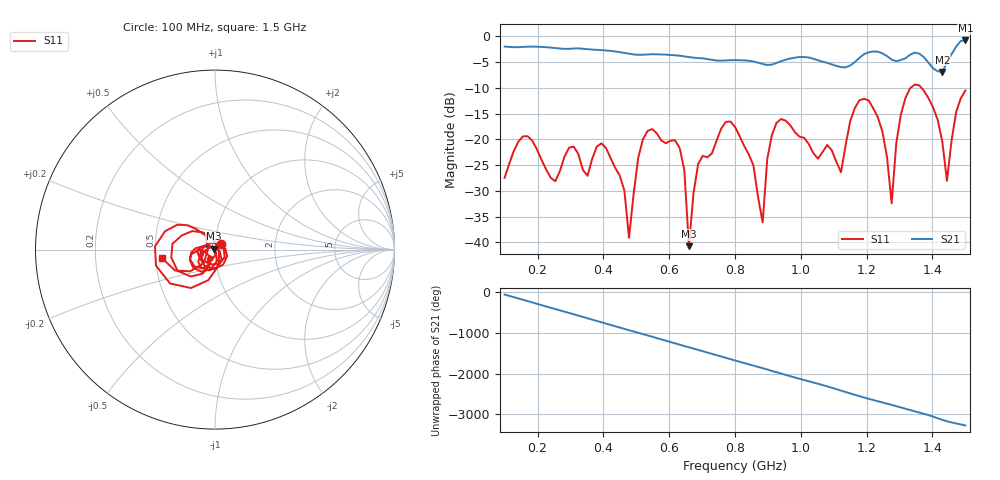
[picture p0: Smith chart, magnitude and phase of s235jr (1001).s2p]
! NanoVNA-App
! Date: 2025-09-25 15:11:57
! Start: 100MHz Stop: 1,5GHz Points: 101
! S-Parameter data: F S11 S21 S12 S22
# Hz S RI R 50
!  Frequency  S11_Real  S11_Imag  S21_Real  S21_Imag  S12_Real  S12_Imag  S22_Real  S22_Imag
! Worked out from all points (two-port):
!   101 points, 100 MHz to 1.5 GHz, reference 50 ohm
!   highest |S21| = -0.78 dB at 1.5 GHz (marker M1); lowest = -6.9 dB at 1.43 GHz (marker M2)
!   |S21| within 3 dB of the highest: start of sweep to 636 MHz; 1.186 GHz to 1.261 GHz (75.48 MHz wide, 6.17 % of centre) (the widest 2 of 4)
!   lowest |S11| = -40.7 dB at 660 MHz (marker M3), VSWR 1.02, Z = 49.3 + j0.546 ohm
!   |S11| at or under -10 dB: start of sweep to 1.333 GHz; 1.367 GHz to end of sweep
!   S12 and S22 are empty: the file has one direction only
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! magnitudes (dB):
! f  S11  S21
! 100 MHz  -27.5  -2.0
! 156 MHz  -19.4  -2.0
! 338 MHz  -26.0  -2.4
! 408 MHz  -21.7  -2.7
! 478 MHz  -39.1  -3.4
! 520 MHz  -20.0  -3.6
! 576 MHz  -20.2  -3.5
! 632 MHz  -21.7  -3.7
! 660 MHz  -40.7  -4.0
! 688 MHz  -24.8  -4.2
! 800 MHz  -17.6  -4.6
! 884 MHz  -36.1  -5.3
! 926 MHz  -16.8  -5.2
! 1.038 GHz  -22.7  -4.3
! 1.122 GHz  -26.4  -6.0
! 1.206 GHz  -12.4  -3.1
! 1.276 GHz  -32.4  -4.5
! 1.304 GHz  -15.1  -4.6
! 1.332 GHz  -10.1  -3.6
! 1.43 GHz  -20.5  -6.9
! 1.444 GHz  -28.0  -5.1
! 1.5 GHz  -10.5  -0.8
